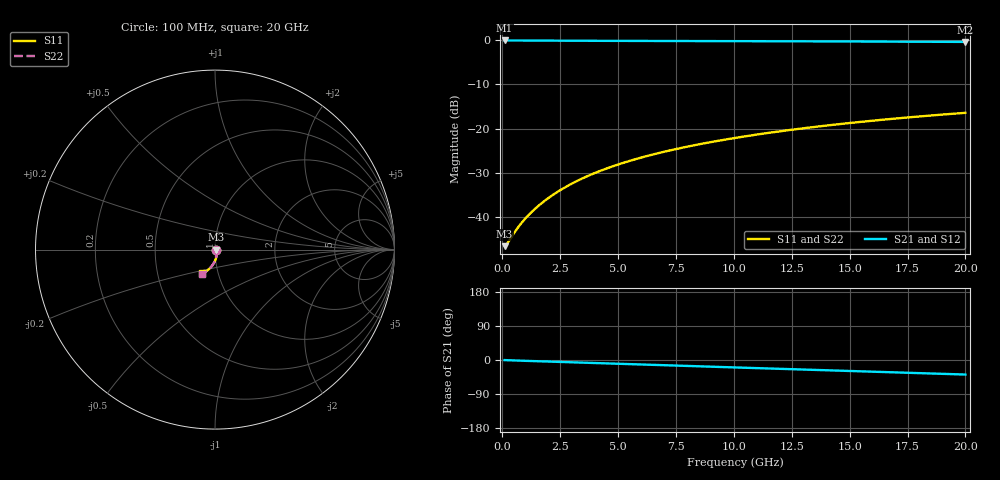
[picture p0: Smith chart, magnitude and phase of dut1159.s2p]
! Touchstone file exported from HFSS 2026.1.0
!  File:  C:/ffzhzh/LocalFiles/Ansys_Project_Files/temp_train_BSMRDL_1159_1783175787_55132.aedt
!  Generated:  10:37:46 PM Jul  4, 2026
!  Design:  BSMRDL
!  Project:  temp_train_BSMRDL_1159_1783175787_55132
! Variables:
!  h_bsmrdl = 2.03um
!  h_ox = 20um
!  h_rdl = 5um
!  h_sub = 80um
!  h_tmrdl = 5um
!  h_tsv = 80um
!  h_via = 3um
!  l_bsmrdl = 648.25um
!  l_sub = 1048.25um
!  l_tmrdl = 200um
!  m_sub = 200um
!  pitch = 28.36um
!  r_tsv = 6um
!  s_tmrdl = 10um
!  w_bsmrdl = 26.89um
!  w_sub = 500um
!  w_tmrdl = 12um
!  x_tsv_center1 = 206um
!  x_tsv_center2 = 881.14um
!  x_tsv_center3 = 1093.14um
!  x_tsv_center4 = 1768.28um
!  x_tsv_center5 = 1980.28um
!  x_tsv_center6 = 2655.42um
# GHz S MA R 50.000000
! Terminal data exported
! Port[1] = BSM_RDL1_1_T1
! Port[2] = BSM_RDL1_1_T2
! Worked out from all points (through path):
!   200 points, 100 MHz to 20 GHz, reference 50 ohm
!   highest |S21| = -0.04 dB at 100 MHz (marker M1); lowest = -0.4 dB at 20 GHz (marker M2)
!   group delay of S21, straight-line fit = 5.31 ps
!   lowest |S11| = -46.6 dB at 100 MHz (marker M3), VSWR 1.01, Z = 50.5 + j0.0124 ohm
!   |S11| at or under -10 dB: start of sweep to end of sweep
!   |S22| runs from -46.6 to -16.4 dB; largest |S21 - S12| = 6.5e-15
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0.1  0.004671 1.5  0.9953 -0.2  0.9953 -0.2  0.004671 1.5
! Gamma 0 0 0 0
! Port Impedance 50 0 50 0
0.2  0.004971 2.0  0.995 -0.5  0.995 -0.5  0.004971 2.0
0.6  0.007127 -8.4  0.9929 -1.4  0.9929 -1.4  0.007127 -8.4
0.8  0.008369 -16.3  0.9919 -1.8  0.9919 -1.8  0.008369 -16.3
1.1  0.01028 -27.4  0.9907 -2.4  0.9907 -2.4  0.01028 -27.4
1.3  0.0116 -33.7  0.9901 -2.8  0.9901 -2.8  0.0116 -33.6
1.5  0.01294 -39.1  0.9895 -3.2  0.9895 -3.2  0.01294 -39.1
1.9  0.01572 -47.9  0.9886 -3.9  0.9886 -3.9  0.01572 -47.9
2.4  0.01934 -56.2  0.9878 -4.9  0.9878 -4.9  0.01935 -56.1
2.9  0.02307 -62.4  0.9871 -5.9  0.9871 -5.9  0.02308 -62.3
3.5  0.02763 -68.1  0.9863 -7.0  0.9863 -7.0  0.02764 -68.1
4.2  0.03303 -73.4  0.9855 -8.4  0.9855 -8.4  0.03304 -73.3
5  0.03923 -78.1  0.9846 -9.9  0.9846 -9.9  0.03925 -78.0
5.9  0.04624 -82.4  0.9836 -11.6  0.9836 -11.6  0.04626 -82.3
6.8  0.05325 -86.0  0.9826 -13.4  0.9826 -13.4  0.05328 -85.9
8.3  0.06491 -91.1  0.9806 -16.3  0.9806 -16.3  0.06494 -91.0
10.1  0.07881 -96.2  0.978 -19.7  0.978 -19.7  0.07885 -96.1
11.7  0.09104 -100.2  0.9753 -22.8  0.9753 -22.8  0.0911 -100.1
13.4  0.1039 -104.2  0.9723 -26.0  0.9723 -26.0  0.1039 -104.1
15  0.1157 -107.7  0.9691 -29.0  0.9691 -29.0  0.1158 -107.6
16.7  0.1281 -111.4  0.9656 -32.2  0.9656 -32.2  0.1282 -111.2
20  0.151 -118.1  0.9584 -38.4  0.9584 -38.4  0.1511 -117.9
